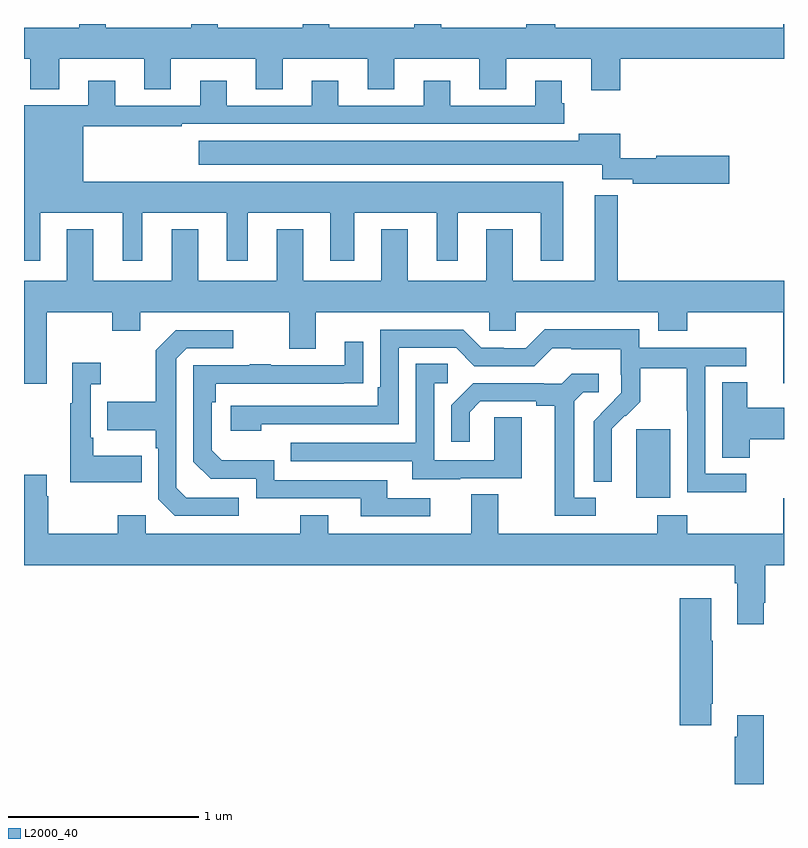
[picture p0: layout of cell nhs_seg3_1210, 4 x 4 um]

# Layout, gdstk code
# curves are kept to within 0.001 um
import gdstk
lib = gdstk.Library(unit=1e-6, precision=1e-09)
def R(c, l, rs):  # rectangles x0, y0, x1, y1
    for r in rs: c.add(gdstk.rectangle(r[:2], r[2:], *l))
def P(c, l, *ps):  # polygons
    for p in ps: c.add(gdstk.Polygon(p, *l))
L2000_40 = (2000, 40)

nhs_seg3_1210 = lib.new_cell('nhs_seg3_1210')
R(nhs_seg3_1210, L2000_40, [(176.222,731.906,176.401,732.267)])
P(nhs_seg3_1210, L2000_40, [(176.138,734.216),(177,734.216),(177,734.4),(176.996,734.4),(176.996,734.38),(175.796,734.38),(175.796,734.4),(175.643,734.4),(175.643,734.38),(175.195,734.38),(175.195,734.4),(175.055,734.4),(175.055,734.38),(174.607,734.38),(174.607,734.4),(174.467,734.4),(174.467,734.38),(174.019,734.38),(174.019,734.4),(173.879,734.4),(173.879,734.38),(173.431,734.38),(173.431,734.4),(173.291,734.4),(173.291,734.38),(173,734.38),(173,734.216),(173.033,734.216),(173.033,734.057),(173.185,734.057),(173.185,734.216),(173.633,734.216),(173.633,734.056),(173.773,734.056),(173.773,734.216),(174.221,734.216),(174.221,734.056),(174.361,734.056),(174.361,734.216),(174.809,734.216),(174.809,734.056),(174.949,734.056),(174.949,734.216),(175.397,734.216),(175.397,734.056),(175.537,734.056),(175.537,734.216),(175.985,734.216),(175.985,734.052),(176.138,734.052)],
  [(173.086,733.406),(173.519,733.406),(173.519,733.155),(173.623,733.155),(173.623,733.406),(174.068,733.406),(174.068,733.155),(174.178,733.155),(174.178,733.406),(174.611,733.406),(174.611,733.155),(174.739,733.155),(174.739,733.406),(175.172,733.406),(175.172,733.155),(175.282,733.155),(175.282,733.406),(175.721,733.406),(175.721,733.155),(175.837,733.155),(175.837,733.57),(173.311,733.57),(173.311,733.863),(173.831,733.863),(173.831,733.875),(175.844,733.875),(175.844,733.983),(175.831,733.983),(175.831,734.101),(175.691,734.101),(175.691,733.971),(175.243,733.971),(175.243,734.101),(175.103,734.101),(175.103,733.971),(174.655,733.971),(174.655,734.101),(174.515,734.101),(174.515,733.971),(174.067,733.971),(174.067,734.101),(173.927,734.101),(173.927,733.971),(173.479,733.971),(173.479,734.101),(173.339,734.101),(173.339,733.972),(173,733.972),(173,733.155),(173.086,733.155)],
  [(176.713,733.706),(176.328,733.706),(176.328,733.693),(176.139,733.693),(176.139,733.822),(175.919,733.822),(175.919,733.786),(173.919,733.786),(173.919,733.658),(176.043,733.658),(176.043,733.584),(176.203,733.584),(176.203,733.559),(176.713,733.559)],
  [(173.119,732.884),(173.464,732.884),(173.464,732.785),(173.611,732.785),(173.611,732.884),(174.395,732.884),(174.395,732.69),(174.535,732.69),(174.535,732.884),(175.449,732.884),(175.449,732.786),(175.587,732.786),(175.587,732.884),(176.339,732.884),(176.339,732.785),(176.492,732.785),(176.492,732.884),(176.996,732.884),(176.996,732.51),(177,732.51),(177,733.048),(176.125,733.048),(176.125,733.498),(176.003,733.498),(176.003,733.048),(175.573,733.048),(175.573,733.321),(175.433,733.321),(175.433,733.048),(175.021,733.048),(175.021,733.321),(174.881,733.321),(174.881,733.048),(174.469,733.048),(174.469,733.321),(174.329,733.321),(174.329,733.048),(173.917,733.048),(173.917,733.321),(173.777,733.321),(173.777,733.048),(173.365,733.048),(173.365,733.321),(173.225,733.321),(173.225,733.048),(173,733.048),(173,732.507),(173.119,732.507)],
  [(176.8,732.033),(176.586,732.033),(176.586,732.6),(176.8,732.6),(176.8,732.696),(176.238,732.696),(176.238,732.793),(175.741,732.793),(175.641,732.693),(175.526,732.693),(175.526,732.696),(175.407,732.696),(175.311,732.792),(174.876,732.792),(174.876,732.487),(174.863,732.487),(174.863,732.39),(174.087,732.39),(174.087,732.26),(174.248,732.26),(174.248,732.294),(174.972,732.294),(174.972,732.696),(175.275,732.696),(175.371,732.6),(175.686,732.6),(175.779,732.693),(175.879,732.693),(175.879,732.689),(176.142,732.689),(176.142,732.555),(176.144,732.555),(176.144,732.458),(175.998,732.31),(175.998,731.992),(176.094,731.992),(176.093,732.269),(176.163,732.339),(176.166,732.336),(176.243,732.413),(176.243,732.588),(176.488,732.588),(176.488,732.364),(176.49,732.364),(176.49,731.935),(176.8,731.935)],
  [(174.13,731.907),(173.853,731.907),(173.802,731.958),(173.802,732.639),(173.856,732.693),(174.1,732.693),(174.1,732.789),(173.799,732.789),(173.694,732.683),(173.694,732.411),(173.437,732.411),(173.437,732.263),(173.694,732.263),(173.694,732.167),(173.706,732.167),(173.706,731.898),(173.793,731.811),(174.13,731.811)],
  [(175.138,731.904),(174.913,731.904),(174.913,732),(174.318,732),(174.318,732.103),(174.041,732.103),(173.988,732.156),(173.988,732.41),(174.008,732.41),(174.008,732.507),(174.785,732.508),(174.785,732.727),(174.689,732.727),(174.689,732.603),(174.299,732.603),(174.299,732.608),(174.187,732.608),(174.187,732.603),(173.892,732.603),(173.892,732.096),(173.982,732.006),(174.222,732.006),(174.222,731.904),(174.773,731.904),(174.773,731.808),(175.138,731.808)],
  [(173.621,732.127),(173.365,732.127),(173.365,732.223),(173.352,732.223),(173.352,732.503),(173.404,732.503),(173.404,732.616),(173.255,732.616),(173.255,732.403),(173.244,732.403),(173.244,731.987),(173.621,731.987)],
  [(175.297,732.009),(175.621,732.009),(175.621,732.329),(175.476,732.329),(175.476,732.105),(175.158,732.105),(175.158,732.51),(175.231,732.51),(175.231,732.611),(175.062,732.611),(175.062,732.195),(174.403,732.195),(174.403,732.099),(175.043,732.099),(175.043,732.005),(175.297,732.005)],
  [(176.008,731.907),(175.897,731.907),(175.897,732.415),(175.944,732.462),(176.026,732.462),(176.026,732.559),(175.882,732.559),(175.83,732.507),(175.736,732.507),(175.736,732.51),(175.364,732.51),(175.248,732.394),(175.248,732.201),(175.345,732.201),(175.345,732.357),(175.402,732.414),(175.697,732.414),(175.697,732.392),(175.793,732.392),(175.793,731.811),(176.008,731.811)],
  [(176.819,732.214),(177,732.214),(177,732.379),(176.806,732.379),(176.806,732.515),(176.675,732.515),(176.675,732.118),(176.819,732.118)],
  [(176.893,731.353),(176.901,731.353),(176.901,731.552),(177,731.552),(177,731.905),(176.996,731.905),(176.996,731.716),(176.492,731.716),(176.492,731.815),(176.332,731.815),(176.332,731.716),(175.495,731.716),(175.495,731.924),(175.355,731.924),(175.355,731.716),(174.601,731.716),(174.601,731.815),(174.454,731.815),(174.454,731.716),(173.64,731.716),(173.64,731.815),(173.494,731.815),(173.494,731.716),(173.127,731.716),(173.127,731.915),(173.119,731.915),(173.119,732.028),(173,732.028),(173,731.552),(176.741,731.552),(176.741,731.456),(176.753,731.456),(176.753,731.241),(176.893,731.241)],
  [(176.617,730.822),(176.625,730.822),(176.625,731.153),(176.617,731.153),(176.617,731.377),(176.45,731.377),(176.45,730.71),(176.617,730.71)],
  [(176.893,730.762),(176.753,730.762),(176.753,730.649),(176.741,730.649),(176.741,730.4),(176.893,730.4)])

lib.write_gds('nhs_seg3_1210.gds')
